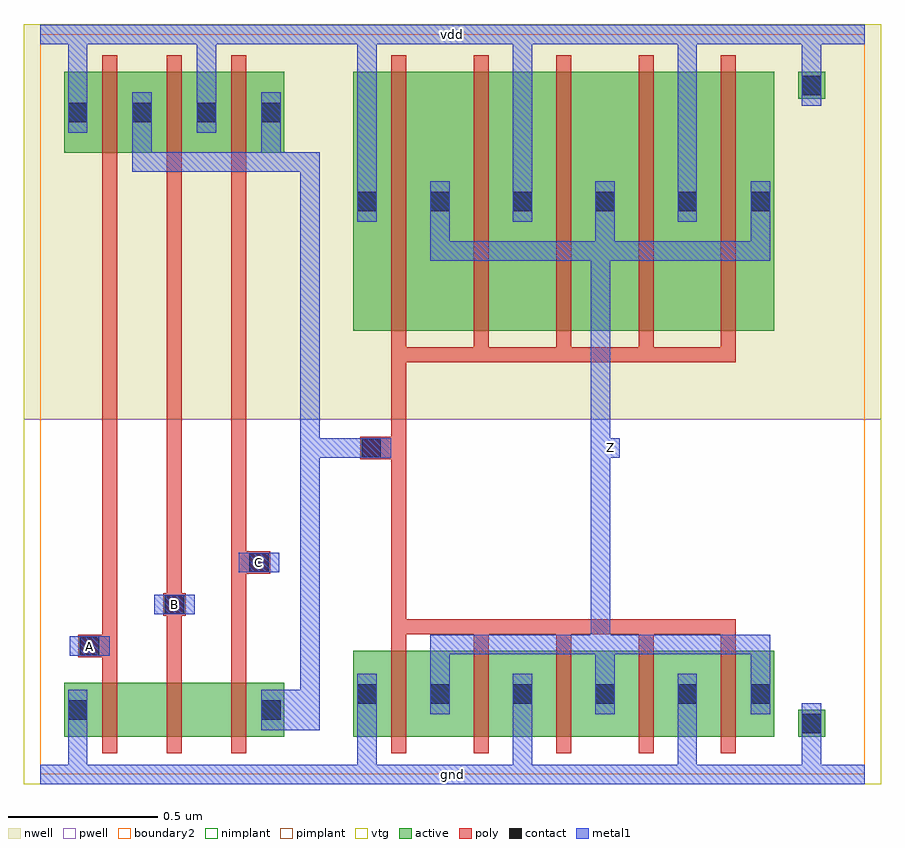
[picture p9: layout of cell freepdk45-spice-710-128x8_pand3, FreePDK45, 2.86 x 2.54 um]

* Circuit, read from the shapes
.subckt freepdk45-spice-710-128x8_pand3 A B C Z gnd vdd
M1 freepdk45-spice-710-128x8_pnand3_0_0/freepdk45-spice-710-128x8_nmos_m1_w0_180_sm1_dactive_3/D A gnd gnd nfet w=0.18u l=0.05u
M2 freepdk45-spice-710-128x8_pnand3_0_0/freepdk45-spice-710-128x8_nmos_m1_w0_180_sactive_dactive_4/D B freepdk45-spice-710-128x8_pnand3_0_0/freepdk45-spice-710-128x8_nmos_m1_w0_180_sm1_dactive_3/D gnd nfet w=0.18u l=0.05u
M3 freepdk45-spice-710-128x8_pdriver_3_1/A C freepdk45-spice-710-128x8_pnand3_0_0/freepdk45-spice-710-128x8_nmos_m1_w0_180_sactive_dactive_4/D gnd nfet w=0.18u l=0.05u
M4 Z freepdk45-spice-710-128x8_pdriver_3_1/A gnd gnd nfet w=0.2875u l=0.05u m=5
M5 freepdk45-spice-710-128x8_pdriver_3_1/A A vdd vdd pfet w=0.27u l=0.05u
M6 vdd B freepdk45-spice-710-128x8_pdriver_3_1/A vdd pfet w=0.27u l=0.05u
M7 freepdk45-spice-710-128x8_pdriver_3_1/A C vdd vdd pfet w=0.27u l=0.05u
M8 Z freepdk45-spice-710-128x8_pdriver_3_1/A vdd vdd pfet w=0.865u l=0.05u m=5
.ends

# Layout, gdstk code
import gdstk
lib = gdstk.Library(unit=1e-6, precision=5e-10)
def R(c, l, rs):  # rectangles x0, y0, x1, y1
    for r in rs: c.add(gdstk.rectangle(r[:2], r[2:], *l))
def A(c, l, x, y, w, h, nx, ny, dx, dy):  # array of equal rectangles
    R(c, l, [(x+i*dx, y+j*dy, x+i*dx+w, y+j*dy+h) for i in range(nx) for j in range(ny)])
active = (1, 0)
pwell = (2, 0)
nwell = (3, 0)
nimplant = (4, 0)
pimplant = (5, 0)
vtg = (6, 0)
poly = (9, 0)
contact = (10, 0)
metal1 = (11, 0)
boundary2 = (239, 0)

freepdk45_spice_710_128x = lib.new_cell('freepdk45-spice-710-128x8_contact_11')
R(freepdk45_spice_710_128x, active, [(0,0.0225,0.09,0.1125)])
R(freepdk45_spice_710_128x, nwell, [(-0.055,-0.0325,0.145,0.1675)])
R(freepdk45_spice_710_128x, pimplant, [(0,0.0225,0.09,0.1125)])
R(freepdk45_spice_710_128x, contact, [(0.0125,0.035,0.0775,0.1)])
R(freepdk45_spice_710_128x, metal1, [(0.0125,0,0.0775,0.135)])
R(freepdk45_spice_710_128x, boundary2, [(-0.055,-0.0325,0.145,0.1675)])

c_freepdk45_spice_710_128x = lib.new_cell('freepdk45-spice-710-128x8_pmos_m1_w0_270_sm1_dm1')
R(c_freepdk45_spice_710_128x, active, [(0,0,0.305,0.27)])
R(c_freepdk45_spice_710_128x, nwell, [(-0.08,-0.08,0.385,0.35)])
R(c_freepdk45_spice_710_128x, pimplant, [(0,0,0.305,0.27)])
R(c_freepdk45_spice_710_128x, vtg, [(-0.08,-0.08,0.385,0.35)])
R(c_freepdk45_spice_710_128x, poly, [(0.1275,-0.055,0.1775,0.325), (0.1275,-0.055,0.1775,0.325)])
R(c_freepdk45_spice_710_128x, metal1, [(0.0125,0.0675,0.0775,0.2025), (0.2275,0.0675,0.2925,0.2025)])
R(c_freepdk45_spice_710_128x, boundary2, [(-0.08,-0.08,0.385,0.35)])
c_freepdk45_spice_710_128x.add(gdstk.Reference(freepdk45_spice_710_128x, (0,0.0675)))
c_freepdk45_spice_710_128x.add(gdstk.Reference(freepdk45_spice_710_128x, (0.215,0.0675)))
c_freepdk45_spice_710_128x.add(gdstk.Label('G', (0.1525,0.135), layer=9, texttype=0))
c_freepdk45_spice_710_128x.add(gdstk.Label('S', (0.045,0.135), layer=11, texttype=0))
c_freepdk45_spice_710_128x.add(gdstk.Label('D', (0.26,0.135), layer=11, texttype=0))

c_freepdk45_spice_710_128x_ = lib.new_cell('freepdk45-spice-710-128x8_contact_10')
R(c_freepdk45_spice_710_128x_, active, [(0,0.0225,0.09,0.1125)])
R(c_freepdk45_spice_710_128x_, pwell, [(-0.055,-0.0325,0.145,0.1675)])
R(c_freepdk45_spice_710_128x_, nimplant, [(0,0.0225,0.09,0.1125)])
R(c_freepdk45_spice_710_128x_, contact, [(0.0125,0.035,0.0775,0.1)])
R(c_freepdk45_spice_710_128x_, metal1, [(0.0125,0,0.0775,0.135)])
R(c_freepdk45_spice_710_128x_, boundary2, [(-0.055,-0.0325,0.145,0.1675)])

c_freepdk45_spice_710_128x__ = lib.new_cell('freepdk45-spice-710-128x8_nmos_m1_w0_180_sm1_dactive')
R(c_freepdk45_spice_710_128x__, active, [(0,0,0.305,0.18), (0.215,0.045,0.305,0.135)])
R(c_freepdk45_spice_710_128x__, pwell, [(-0.08,-0.08,0.385,0.26)])
R(c_freepdk45_spice_710_128x__, nimplant, [(0,0,0.305,0.18)])
R(c_freepdk45_spice_710_128x__, vtg, [(-0.08,-0.08,0.385,0.26)])
R(c_freepdk45_spice_710_128x__, poly, [(0.1275,-0.055,0.1775,0.235), (0.1275,-0.055,0.1775,0.235)])
R(c_freepdk45_spice_710_128x__, metal1, [(0.0125,0.0225,0.0775,0.1575)])
R(c_freepdk45_spice_710_128x__, boundary2, [(-0.08,-0.08,0.385,0.26)])
c_freepdk45_spice_710_128x__.add(gdstk.Reference(c_freepdk45_spice_710_128x_, (0,0.0225)))
c_freepdk45_spice_710_128x__.add(gdstk.Label('G', (0.1525,0.09), layer=9, texttype=0))
c_freepdk45_spice_710_128x__.add(gdstk.Label('S', (0.045,0.09), layer=11, texttype=0))
c_freepdk45_spice_710_128x__.add(gdstk.Label('D', (0.26,0.09), layer=1, texttype=0))

c_freepdk45_spice_710_128x___ = lib.new_cell('freepdk45-spice-710-128x8_nmos_m1_w0_180_sactive_dactive')
R(c_freepdk45_spice_710_128x___, active, [(0,0,0.305,0.18), (0,0.045,0.09,0.135), (0.215,0.045,0.305,0.135)])
R(c_freepdk45_spice_710_128x___, pwell, [(-0.08,-0.08,0.385,0.26)])
R(c_freepdk45_spice_710_128x___, nimplant, [(0,0,0.305,0.18)])
R(c_freepdk45_spice_710_128x___, vtg, [(-0.08,-0.08,0.385,0.26)])
R(c_freepdk45_spice_710_128x___, poly, [(0.1275,-0.055,0.1775,0.235), (0.1275,-0.055,0.1775,0.235)])
R(c_freepdk45_spice_710_128x___, boundary2, [(-0.08,-0.08,0.385,0.26)])
c_freepdk45_spice_710_128x___.add(gdstk.Label('G', (0.1525,0.09), layer=9, texttype=0))
c_freepdk45_spice_710_128x___.add(gdstk.Label('S', (0.045,0.09), layer=1, texttype=0))
c_freepdk45_spice_710_128x___.add(gdstk.Label('D', (0.26,0.09), layer=1, texttype=0))

c_freepdk45_spice_710_128x____ = lib.new_cell('freepdk45-spice-710-128x8_nmos_m1_w0_180_sactive_dm1')
R(c_freepdk45_spice_710_128x____, active, [(0,0,0.305,0.18), (0,0.045,0.09,0.135)])
R(c_freepdk45_spice_710_128x____, pwell, [(-0.08,-0.08,0.385,0.26)])
R(c_freepdk45_spice_710_128x____, nimplant, [(0,0,0.305,0.18)])
R(c_freepdk45_spice_710_128x____, vtg, [(-0.08,-0.08,0.385,0.26)])
R(c_freepdk45_spice_710_128x____, poly, [(0.1275,-0.055,0.1775,0.235), (0.1275,-0.055,0.1775,0.235)])
R(c_freepdk45_spice_710_128x____, metal1, [(0.2275,0.0225,0.2925,0.1575)])
R(c_freepdk45_spice_710_128x____, boundary2, [(-0.08,-0.08,0.385,0.26)])
c_freepdk45_spice_710_128x____.add(gdstk.Reference(c_freepdk45_spice_710_128x_, (0.215,0.0225)))
c_freepdk45_spice_710_128x____.add(gdstk.Label('G', (0.1525,0.09), layer=9, texttype=0))
c_freepdk45_spice_710_128x____.add(gdstk.Label('S', (0.045,0.09), layer=1, texttype=0))
c_freepdk45_spice_710_128x____.add(gdstk.Label('D', (0.26,0.09), layer=11, texttype=0))

c_freepdk45_spice_710_128x_____ = lib.new_cell('freepdk45-spice-710-128x8_contact_14')
R(c_freepdk45_spice_710_128x_____, poly, [(0.03,0,0.105,0.075)])
R(c_freepdk45_spice_710_128x_____, contact, [(0.035,0.005,0.1,0.07)])
R(c_freepdk45_spice_710_128x_____, metal1, [(0,0.005,0.135,0.07)])
R(c_freepdk45_spice_710_128x_____, boundary2, [(0,0,0.135,0.075)])

c_freepdk45_spice_710_128x______ = lib.new_cell('freepdk45-spice-710-128x8_pnand3_0')
R(c_freepdk45_spice_710_128x______, pwell, [(-0.055,-0.0325,1.02,1.185)])
R(c_freepdk45_spice_710_128x______, nwell, [(-0.055,1.185,1.02,2.505)])
R(c_freepdk45_spice_710_128x______, vtg, [(-0.055,-0.0325,1.02,1.185), (-0.055,1.185,1.02,2.505)])
A(c_freepdk45_spice_710_128x______, poly, 0.2075, 0.36, 0.05, 1.66, 3, 1, 0.215, 0)
R(c_freepdk45_spice_710_128x______, poly, [(0.165,0.39,0.2075,0.465), (0.4225,0.53,0.4475,0.605), (0.6375,0.67,0.73,0.745)])
R(c_freepdk45_spice_710_128x______, metal1, [(0,-0.0325,0.965,0.0325), (0.0925,-0.0325,0.1575,0.1475), (0.77,0.1475,0.9,0.2825), (0.8675,0.1475,0.9325,2.045), (0.0975,0.395,0.2325,0.46), (0.38,0.535,0.515,0.6), (0.6625,0.675,0.7975,0.74), (0.3075,2.0125,0.3725,2.0775), (0.34,2.0125,0.9,2.0775), (0.7375,2.0125,0.8025,2.0775), (0.77,2.0125,0.9,2.0775), (0.8675,2.0125,0.9325,2.0775), (0.3075,2.045,0.3725,2.21), (0.7375,2.045,0.8025,2.21), (0.0925,2.1425,0.1575,2.5025), (0.5225,2.1425,0.5875,2.5025), (0,2.4375,0.965,2.5025)])
R(c_freepdk45_spice_710_128x______, boundary2, [(0,0,0.965,2.47), (0,0,0.965,2.47)])
c_freepdk45_spice_710_128x______.add(gdstk.Reference(c_freepdk45_spice_710_128x, (0.08,2.075)))
c_freepdk45_spice_710_128x______.add(gdstk.Reference(c_freepdk45_spice_710_128x, (0.295,2.075)))
c_freepdk45_spice_710_128x______.add(gdstk.Reference(c_freepdk45_spice_710_128x, (0.51,2.075)))
c_freepdk45_spice_710_128x______.add(gdstk.Reference(c_freepdk45_spice_710_128x__, (0.08,0.125)))
c_freepdk45_spice_710_128x______.add(gdstk.Reference(c_freepdk45_spice_710_128x___, (0.295,0.125)))
c_freepdk45_spice_710_128x______.add(gdstk.Reference(c_freepdk45_spice_710_128x____, (0.51,0.125)))
c_freepdk45_spice_710_128x______.add(gdstk.Reference(c_freepdk45_spice_710_128x_____, (0.0975,0.39)))
c_freepdk45_spice_710_128x______.add(gdstk.Reference(c_freepdk45_spice_710_128x_____, (0.38,0.53)))
c_freepdk45_spice_710_128x______.add(gdstk.Reference(c_freepdk45_spice_710_128x_____, (0.6625,0.67)))
c_freepdk45_spice_710_128x______.add(gdstk.Label('A', (0.165,0.4275), layer=11, texttype=0))
c_freepdk45_spice_710_128x______.add(gdstk.Label('B', (0.4475,0.5675), layer=11, texttype=0))
c_freepdk45_spice_710_128x______.add(gdstk.Label('C', (0.73,0.7075), layer=11, texttype=0))
c_freepdk45_spice_710_128x______.add(gdstk.Label('Z', (0.9,2.045), layer=11, texttype=0))
c_freepdk45_spice_710_128x______.add(gdstk.Label('gnd', (0.4825,0), layer=11, texttype=0))
c_freepdk45_spice_710_128x______.add(gdstk.Label('vdd', (0.4825,2.47), layer=11, texttype=0))

c_freepdk45_spice_710_128x_______ = lib.new_cell('freepdk45-spice-710-128x8_pmos_m5_w0_865_sm1_dm1_da_p')
R(c_freepdk45_spice_710_128x_______, active, [(0,0,1.405,0.865)])
R(c_freepdk45_spice_710_128x_______, nwell, [(-0.08,-0.08,1.485,0.945)])
R(c_freepdk45_spice_710_128x_______, pimplant, [(0,0,1.405,0.865)])
R(c_freepdk45_spice_710_128x_______, vtg, [(-0.08,-0.08,1.485,0.945)])
A(c_freepdk45_spice_710_128x_______, poly, 0.1275, -0.055, 0.05, 0.975, 5, 1, 0.275, 0)
R(c_freepdk45_spice_710_128x_______, poly, [(0.1275,-0.105,1.2775,-0.055)])
R(c_freepdk45_spice_710_128x_______, metal1, [(0.2575,0.235,1.3925,0.3), (0.2575,0.2675,0.3225,0.4325), (0.8075,0.2675,0.8725,0.4325), (1.3275,0.2675,1.3925,0.4325), (0.0125,0.365,0.0775,0.5), (0.5325,0.365,0.5975,0.5), (1.0825,0.365,1.1475,0.5)])
R(c_freepdk45_spice_710_128x_______, boundary2, [(-0.08,-0.105,1.485,0.945)])
c_freepdk45_spice_710_128x_______.add(gdstk.Reference(freepdk45_spice_710_128x, (0,0.365)))
c_freepdk45_spice_710_128x_______.add(gdstk.Reference(freepdk45_spice_710_128x, (0.245,0.365)))
c_freepdk45_spice_710_128x_______.add(gdstk.Reference(freepdk45_spice_710_128x, (0.52,0.365)))
c_freepdk45_spice_710_128x_______.add(gdstk.Reference(freepdk45_spice_710_128x, (0.795,0.365)))
c_freepdk45_spice_710_128x_______.add(gdstk.Reference(freepdk45_spice_710_128x, (1.07,0.365)))
c_freepdk45_spice_710_128x_______.add(gdstk.Reference(freepdk45_spice_710_128x, (1.315,0.365)))
c_freepdk45_spice_710_128x_______.add(gdstk.Label('G', (0.7025,-0.08), layer=9, texttype=0))
c_freepdk45_spice_710_128x_______.add(gdstk.Label('S', (0.565,0.4325), layer=11, texttype=0))
c_freepdk45_spice_710_128x_______.add(gdstk.Label('S', (0.045,0.4325), layer=11, texttype=0))
c_freepdk45_spice_710_128x_______.add(gdstk.Label('S', (1.115,0.4325), layer=11, texttype=0))
c_freepdk45_spice_710_128x_______.add(gdstk.Label('D', (0.825,0.2675), layer=11, texttype=0))

c_freepdk45_spice_710_128x________ = lib.new_cell('freepdk45-spice-710-128x8_nmos_m5_w0_288_sm1_dm1_da_p')
R(c_freepdk45_spice_710_128x________, active, [(0,0,1.405,0.2875)])
R(c_freepdk45_spice_710_128x________, pwell, [(-0.08,-0.08,1.485,0.3675)])
R(c_freepdk45_spice_710_128x________, nimplant, [(0,0,1.405,0.2875)])
R(c_freepdk45_spice_710_128x________, vtg, [(-0.08,-0.08,1.485,0.3675)])
A(c_freepdk45_spice_710_128x________, poly, 0.1275, -0.055, 0.05, 0.3975, 5, 1, 0.275, 0)
R(c_freepdk45_spice_710_128x________, poly, [(0.1275,0.3425,1.2775,0.3925)])
R(c_freepdk45_spice_710_128x________, metal1, [(0.0125,0.075,0.0775,0.21), (0.5325,0.075,0.5975,0.21), (1.0825,0.075,1.1475,0.21), (0.2575,0.145,0.3225,0.31), (0.8075,0.145,0.8725,0.31), (1.3275,0.145,1.3925,0.31), (0.2575,0.275,1.3925,0.34)])
R(c_freepdk45_spice_710_128x________, boundary2, [(-0.08,-0.08,1.485,0.3925)])
c_freepdk45_spice_710_128x________.add(gdstk.Reference(c_freepdk45_spice_710_128x_, (0,0.075)))
c_freepdk45_spice_710_128x________.add(gdstk.Reference(c_freepdk45_spice_710_128x_, (0.245,0.075)))
c_freepdk45_spice_710_128x________.add(gdstk.Reference(c_freepdk45_spice_710_128x_, (0.52,0.075)))
c_freepdk45_spice_710_128x________.add(gdstk.Reference(c_freepdk45_spice_710_128x_, (0.795,0.075)))
c_freepdk45_spice_710_128x________.add(gdstk.Reference(c_freepdk45_spice_710_128x_, (1.07,0.075)))
c_freepdk45_spice_710_128x________.add(gdstk.Reference(c_freepdk45_spice_710_128x_, (1.315,0.075)))
c_freepdk45_spice_710_128x________.add(gdstk.Label('G', (0.7025,0.3675), layer=9, texttype=0))
c_freepdk45_spice_710_128x________.add(gdstk.Label('S', (0.045,0.1425), layer=11, texttype=0))
c_freepdk45_spice_710_128x________.add(gdstk.Label('S', (0.565,0.1425), layer=11, texttype=0))
c_freepdk45_spice_710_128x________.add(gdstk.Label('S', (1.115,0.1425), layer=11, texttype=0))
c_freepdk45_spice_710_128x________.add(gdstk.Label('D', (0.825,0.3075), layer=11, texttype=0))

c_freepdk45_spice_710_128x_________ = lib.new_cell('freepdk45-spice-710-128x8_contact_12')
R(c_freepdk45_spice_710_128x_________, active, [(0,0.0225,0.09,0.1125)])
R(c_freepdk45_spice_710_128x_________, nwell, [(-0.055,-0.0325,0.145,0.1675)])
R(c_freepdk45_spice_710_128x_________, nimplant, [(0,0.0225,0.09,0.1125)])
R(c_freepdk45_spice_710_128x_________, contact, [(0.0125,0.035,0.0775,0.1)])
R(c_freepdk45_spice_710_128x_________, metal1, [(0.0125,0,0.0775,0.135)])
R(c_freepdk45_spice_710_128x_________, boundary2, [(-0.055,-0.0325,0.145,0.1675)])

c_freepdk45_spice_710_128x__________ = lib.new_cell('freepdk45-spice-710-128x8_contact_13')
R(c_freepdk45_spice_710_128x__________, active, [(0,0.0225,0.09,0.1125)])
R(c_freepdk45_spice_710_128x__________, pwell, [(-0.055,-0.0325,0.145,0.1675)])
R(c_freepdk45_spice_710_128x__________, pimplant, [(0,0.0225,0.09,0.1125)])
R(c_freepdk45_spice_710_128x__________, contact, [(0.0125,0.035,0.0775,0.1)])
R(c_freepdk45_spice_710_128x__________, metal1, [(0.0125,0,0.0775,0.135)])
R(c_freepdk45_spice_710_128x__________, boundary2, [(-0.055,-0.0325,0.145,0.1675)])

c_freepdk45_spice_710_128x___________ = lib.new_cell('freepdk45-spice-710-128x8_pinv_13')
R(c_freepdk45_spice_710_128x___________, pwell, [(-0.055,-0.0325,1.8425,1.185)])
R(c_freepdk45_spice_710_128x___________, nwell, [(-0.055,1.185,1.8425,2.505)])
R(c_freepdk45_spice_710_128x___________, vtg, [(-0.055,-0.0325,1.8425,1.185), (-0.055,1.185,1.8425,2.505)])
R(c_freepdk45_spice_710_128x___________, poly, [(0.2075,0.5175,0.2575,1.375), (0.14,1.0525,0.2075,1.1275)])
R(c_freepdk45_spice_710_128x___________, metal1, [(0,-0.0325,1.7875,0.0325), (0.0925,-0.0325,0.1575,0.2), (0.6125,-0.0325,0.6775,0.2), (1.1625,-0.0325,1.2275,0.2), (1.5775,0,1.6425,0.17), (0.8725,0.4,0.9375,1.78), (0.0725,1.0575,0.2075,1.1225), (0.905,1.0575,0.97,1.1225), (0.0925,1.845,0.1575,2.5025), (0.6125,1.845,0.6775,2.5025), (1.1625,1.845,1.2275,2.5025), (1.5775,2.3,1.6425,2.47), (0,2.4375,1.7875,2.5025)])
R(c_freepdk45_spice_710_128x___________, boundary2, [(0,0,1.7875,2.47), (0,0,1.7875,2.47)])
c_freepdk45_spice_710_128x___________.add(gdstk.Reference(c_freepdk45_spice_710_128x_______, (0.08,1.48)))
c_freepdk45_spice_710_128x___________.add(gdstk.Reference(c_freepdk45_spice_710_128x________, (0.08,0.125)))
c_freepdk45_spice_710_128x___________.add(gdstk.Reference(c_freepdk45_spice_710_128x_________, (1.565,2.2325)))
c_freepdk45_spice_710_128x___________.add(gdstk.Reference(c_freepdk45_spice_710_128x__________, (1.565,0.1025)))
c_freepdk45_spice_710_128x___________.add(gdstk.Reference(c_freepdk45_spice_710_128x_____, (0.0725,1.0525)))
c_freepdk45_spice_710_128x___________.add(gdstk.Label('A', (0.14,1.09), layer=11, texttype=0))
c_freepdk45_spice_710_128x___________.add(gdstk.Label('Z', (0.9375,1.09), layer=11, texttype=0))
c_freepdk45_spice_710_128x___________.add(gdstk.Label('gnd', (0.894,0), layer=11, texttype=0))
c_freepdk45_spice_710_128x___________.add(gdstk.Label('vdd', (0.894,2.47), layer=11, texttype=0))

c_freepdk45_spice_710_128x____________ = lib.new_cell('freepdk45-spice-710-128x8_pdriver_3')
R(c_freepdk45_spice_710_128x____________, pwell, [(-0.055,-0.0325,1.8425,1.185)])
R(c_freepdk45_spice_710_128x____________, nwell, [(-0.055,1.185,1.8425,2.505)])
R(c_freepdk45_spice_710_128x____________, vtg, [(-0.055,-0.0325,1.8425,1.185), (-0.055,1.185,1.8425,2.505)])
R(c_freepdk45_spice_710_128x____________, metal1, [(0,-0.0325,1.7875,0.0325), (0.0725,1.0575,0.2075,1.1225), (0.905,1.0575,0.97,1.1225), (0,2.4375,1.7875,2.5025)])
R(c_freepdk45_spice_710_128x____________, boundary2, [(0,0,1.7875,2.47), (0,0,1.7875,2.47)])
c_freepdk45_spice_710_128x____________.add(gdstk.Reference(c_freepdk45_spice_710_128x___________, (0,0)))
c_freepdk45_spice_710_128x____________.add(gdstk.Label('Z', (0.9375,1.09), layer=11, texttype=0))
c_freepdk45_spice_710_128x____________.add(gdstk.Label('A', (0.14,1.09), layer=11, texttype=0))
c_freepdk45_spice_710_128x____________.add(gdstk.Label('gnd', (0.894,0), layer=11, texttype=0))
c_freepdk45_spice_710_128x____________.add(gdstk.Label('vdd', (0.894,2.47), layer=11, texttype=0))

c_freepdk45_spice_710_128x_____________ = lib.new_cell('freepdk45-spice-710-128x8_pand3')
R(c_freepdk45_spice_710_128x_____________, metal1, [(0,-0.0325,2.7525,0.0325), (0.0975,0.395,0.2325,0.46), (0.38,0.535,0.515,0.6), (0.6625,0.675,0.7975,0.74), (0.8675,1.0575,0.9325,1.1225), (0.9,1.0575,1.105,1.1225), (1.87,1.0575,1.935,1.1225), (0.8675,1.09,0.9325,2.045), (0,2.4375,2.7525,2.5025)])
R(c_freepdk45_spice_710_128x_____________, boundary2, [(0,0,2.7525,2.47), (0,0,2.7525,2.47)])
c_freepdk45_spice_710_128x_____________.add(gdstk.Reference(c_freepdk45_spice_710_128x______, (0,0)))
c_freepdk45_spice_710_128x_____________.add(gdstk.Reference(c_freepdk45_spice_710_128x____________, (0.965,0)))
c_freepdk45_spice_710_128x_____________.add(gdstk.Label('Z', (1.9025,1.09), layer=11, texttype=0))
c_freepdk45_spice_710_128x_____________.add(gdstk.Label('A', (0.165,0.4275), layer=11, texttype=0))
c_freepdk45_spice_710_128x_____________.add(gdstk.Label('B', (0.4475,0.5675), layer=11, texttype=0))
c_freepdk45_spice_710_128x_____________.add(gdstk.Label('C', (0.73,0.7075), layer=11, texttype=0))
c_freepdk45_spice_710_128x_____________.add(gdstk.Label('gnd', (1.376,0), layer=11, texttype=0))
c_freepdk45_spice_710_128x_____________.add(gdstk.Label('vdd', (1.376,2.47), layer=11, texttype=0))

lib.write_gds('freepdk45-spice-710-128x8_pand3.gds')
